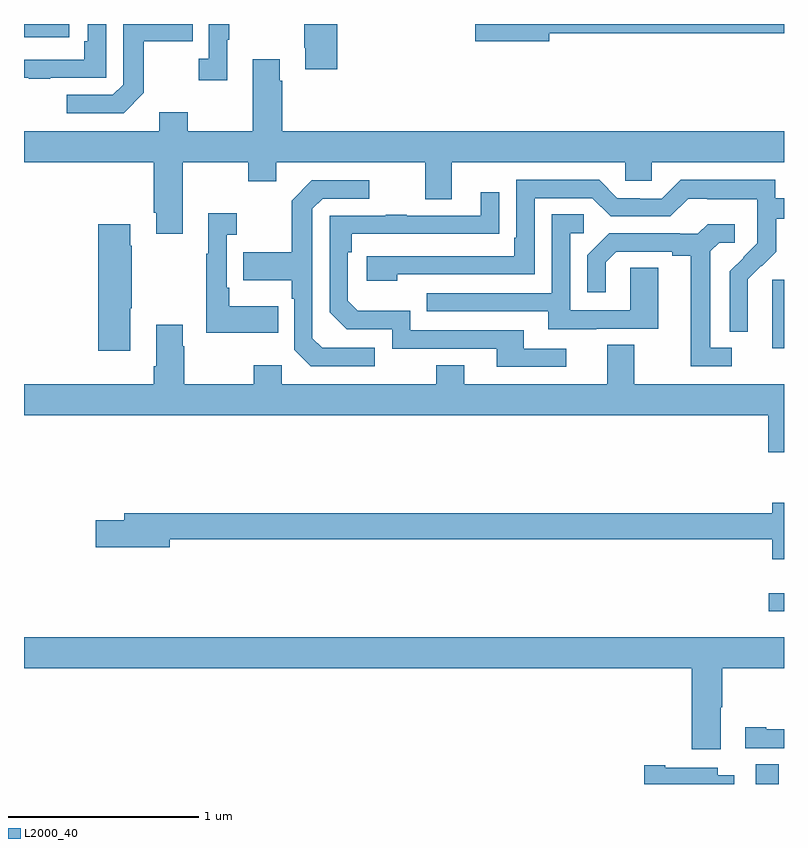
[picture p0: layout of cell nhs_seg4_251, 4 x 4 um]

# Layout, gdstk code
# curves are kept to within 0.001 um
import gdstk
lib = gdstk.Library(unit=1e-6, precision=1e-09)
def R(c, l, rs):  # rectangles x0, y0, x1, y1
    for r in rs: c.add(gdstk.rectangle(r[:2], r[2:], *l))
def P(c, l, *ps):  # polygons
    for p in ps: c.add(gdstk.Polygon(p, *l))
L2000_40 = (2000, 40)

nhs_seg4_251 = lib.new_cell('nhs_seg4_251')
R(nhs_seg4_251, L2000_40, [(126.851,774.9,126.973,775.004), (126.921,775.808,127,775.905), (126.938,777.194,127,777.555), (123,778.83,123.238,778.9)])
P(nhs_seg4_251, L2000_40, [(123.631,778.537),(123.631,778.81),(123.887,778.81),(123.887,778.9),(123.522,778.9),(123.522,778.581),(123.468,778.527),(123.225,778.527),(123.225,778.431),(123.525,778.431)],
  [(124.069,778.817),(124.081,778.817),(124.081,778.9),(123.972,778.9),(123.972,778.718),(123.921,778.718),(123.921,778.605),(124.069,778.605)],
  [(125.764,778.852),(127,778.852),(127,778.9),(125.376,778.9),(125.376,778.81),(125.764,778.81)],
  [(123.137,778.617),(123.432,778.617),(123.432,778.9),(123.336,778.9),(123.336,778.81),(123.316,778.81),(123.316,778.713),(123,778.713),(123,778.617),(123.025,778.617),(123.025,778.612),(123.137,778.612)],
  [(124.649,778.9),(124.474,778.9),(124.474,778.774),(124.481,778.774),(124.481,778.662),(124.649,778.662)],
  [(123.835,778.172),(124.18,778.172),(124.18,778.073),(124.327,778.073),(124.327,778.172),(125.111,778.172),(125.111,777.978),(125.251,777.978),(125.251,778.172),(126.165,778.172),(126.165,778.074),(126.303,778.074),(126.303,778.172),(127,778.172),(127,778.336),(124.358,778.336),(124.358,778.601),(124.345,778.601),(124.345,778.714),(124.205,778.714),(124.205,778.336),(123.861,778.336),(123.861,778.435),(123.713,778.435),(123.713,778.336),(123,778.336),(123,778.172),(123.683,778.172),(123.683,777.907),(123.695,777.907),(123.695,777.795),(123.835,777.795)],
  [(126.81,777.434),(126.809,777.557),(126.879,777.627),(126.882,777.624),(126.959,777.701),(126.959,777.876),(127,777.876),(127,777.984),(126.954,777.984),(126.954,778.081),(126.457,778.081),(126.357,777.981),(126.242,777.981),(126.242,777.984),(126.123,777.984),(126.027,778.08),(125.592,778.08),(125.592,777.775),(125.579,777.775),(125.579,777.678),(124.803,777.678),(124.803,777.548),(124.964,777.548),(124.964,777.582),(125.688,777.582),(125.688,777.984),(125.991,777.984),(126.087,777.888),(126.402,777.888),(126.495,777.981),(126.595,777.981),(126.595,777.977),(126.858,777.977),(126.858,777.843),(126.86,777.843),(126.86,777.746),(126.714,777.598),(126.714,777.28),(126.81,777.28)],
  [(124.846,777.195),(124.569,777.195),(124.518,777.246),(124.518,777.927),(124.572,777.981),(124.816,777.981),(124.816,778.077),(124.515,778.077),(124.41,777.971),(124.41,777.699),(124.153,777.699),(124.153,777.551),(124.41,777.551),(124.41,777.455),(124.422,777.455),(124.422,777.186),(124.509,777.099),(124.846,777.099)],
  [(125.854,777.192),(125.629,777.192),(125.629,777.288),(125.034,777.288),(125.034,777.391),(124.757,777.391),(124.704,777.444),(124.704,777.698),(124.724,777.698),(124.724,777.795),(125.501,777.796),(125.501,778.015),(125.405,778.015),(125.405,777.891),(125.015,777.891),(125.015,777.896),(124.903,777.896),(124.903,777.891),(124.608,777.891),(124.608,777.384),(124.698,777.294),(124.938,777.294),(124.938,777.192),(125.489,777.192),(125.489,777.096),(125.854,777.096)],
  [(124.337,777.415),(124.081,777.415),(124.081,777.511),(124.068,777.511),(124.068,777.791),(124.12,777.791),(124.12,777.904),(123.971,777.904),(123.971,777.691),(123.96,777.691),(123.96,777.275),(124.337,777.275)],
  [(126.013,777.297),(126.337,777.297),(126.337,777.617),(126.192,777.617),(126.192,777.393),(125.874,777.393),(125.874,777.798),(125.947,777.798),(125.947,777.899),(125.778,777.899),(125.778,777.483),(125.119,777.483),(125.119,777.387),(125.759,777.387),(125.759,777.293),(126.013,777.293)],
  [(123.559,777.403),(123.567,777.403),(123.567,777.734),(123.559,777.734),(123.559,777.847),(123.392,777.847),(123.392,777.18),(123.559,777.18)],
  [(126.724,777.195),(126.613,777.195),(126.613,777.703),(126.66,777.75),(126.742,777.75),(126.742,777.847),(126.598,777.847),(126.546,777.795),(126.452,777.795),(126.452,777.798),(126.08,777.798),(125.964,777.682),(125.964,777.489),(126.061,777.489),(126.061,777.645),(126.118,777.702),(126.413,777.702),(126.413,777.68),(126.509,777.68),(126.509,777.099),(126.724,777.099)],
  [(127,777.004),(126.211,777.004),(126.211,777.212),(126.071,777.212),(126.071,777.004),(125.317,777.004),(125.317,777.103),(125.17,777.103),(125.17,777.004),(124.356,777.004),(124.356,777.103),(124.21,777.103),(124.21,777.004),(123.843,777.004),(123.843,777.203),(123.835,777.203),(123.835,777.316),(123.695,777.316),(123.695,777.1),(123.683,777.1),(123.683,777.004),(123,777.004),(123,776.84),(126.917,776.84),(126.917,776.646),(127,776.646)],
  [(127,776.38),(126.938,776.38),(126.938,776.324),(123.527,776.324),(123.527,776.288),(123.378,776.288),(123.378,776.146),(123.766,776.146),(123.766,776.188),(126.938,776.188),(126.938,776.084),(127,776.084)],
  [(126.667,775.304),(126.675,775.304),(126.675,775.508),(127,775.508),(127,775.672),(123,775.672),(123,775.508),(126.515,775.508),(126.515,775.083),(126.667,775.083)],
  [(127,775.188),(126.907,775.188),(126.907,775.198),(126.795,775.198),(126.795,775.089),(127,775.089)],
  [(126.739,774.946),(126.652,774.946),(126.652,774.985),(126.376,774.985),(126.376,774.998),(126.264,774.998),(126.264,774.9),(126.739,774.9)])

lib.write_gds('nhs_seg4_251.gds')
